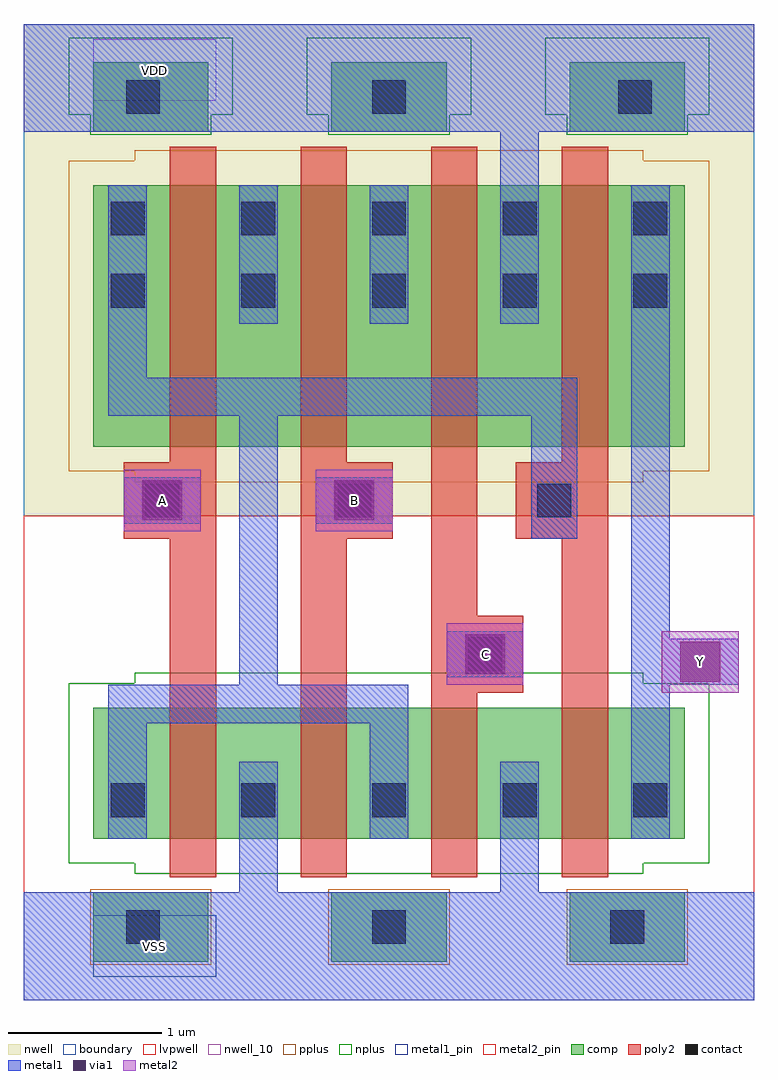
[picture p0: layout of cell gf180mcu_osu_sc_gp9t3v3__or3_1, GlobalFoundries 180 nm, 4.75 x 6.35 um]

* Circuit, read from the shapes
.subckt gf180mcu_osu_sc_gp9t3v3__or3_1 A B C VDD VSS Y
XM1 VSS A n1 VSS nfet_03v3 w=0.85u l=0.3u
XM2 n1 B VSS VSS nfet_03v3 w=0.85u l=0.3u
XM3 VSS C n1 VSS nfet_03v3 w=0.85u l=0.3u
XM4 Y n1 VSS VSS nfet_03v3 w=0.85u l=0.3u
XM5 n2 A n1 VDD pfet_03v3 w=1.7u l=0.3u
XM6 n3 B n2 VDD pfet_03v3 w=1.7u l=0.3u
XM7 VDD C n3 VDD pfet_03v3 w=1.7u l=0.3u
XM8 Y n1 VDD VDD pfet_03v3 w=1.7u l=0.3u
.ends

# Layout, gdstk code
import gdstk
lib = gdstk.Library(unit=1e-6, precision=1e-09)
def R(c, l, rs):  # rectangles x0, y0, x1, y1
    for r in rs: c.add(gdstk.rectangle(r[:2], r[2:], *l))
def A(c, l, x, y, w, h, nx, ny, dx, dy):  # array of equal rectangles
    R(c, l, [(x+i*dx, y+j*dy, x+i*dx+w, y+j*dy+h) for i in range(nx) for j in range(ny)])
boundary = (0, 0)
nwell = (21, 0)
nwell_10 = (21, 10)
comp = (22, 0)
poly2 = (30, 0)
pplus = (31, 0)
nplus = (32, 0)
contact = (33, 0)
metal1 = (34, 0)
metal1_pin = (34, 10)
via1 = (35, 0)
metal2 = (36, 0)
metal2_pin = (36, 10)
lvpwell = (204, 0)

gf180mcu_osu_sc_gp9t3v3_ = lib.new_cell('gf180mcu_osu_sc_gp9t3v3__or3_1')
R(gf180mcu_osu_sc_gp9t3v3_, boundary, [(0,0,4.75,6.35)])
R(gf180mcu_osu_sc_gp9t3v3_, nwell, [(0,3.15,4.75,6.35)])
R(gf180mcu_osu_sc_gp9t3v3_, nwell_10, [(0.45,5.85,1.25,6.25)])
A(gf180mcu_osu_sc_gp9t3v3_, comp, 0.45, 0.25, 0.75, 0.45, 3, 2, 1.55, 5.4)
R(gf180mcu_osu_sc_gp9t3v3_, comp, [(0.45,1.05,4.3,1.9), (0.45,3.6,4.3,5.3)])
R(gf180mcu_osu_sc_gp9t3v3_, poly2, [(0.95,0.8,1.25,3), (1.8,0.8,2.1,3), (2.65,0.8,2.95,2), (3.5,0.8,3.8,3), (2.65,2,3.25,2.5), (2.65,2.5,2.95,5.55), (0.65,3,1.25,3.5), (1.8,3,2.4,3.5), (3.2,3,3.8,3.5), (0.95,3.5,1.25,5.55), (1.8,3.5,2.1,5.55), (3.5,3.5,3.8,5.55)])
A(gf180mcu_osu_sc_gp9t3v3_, pplus, 0.43, 0.23, 0.79, 0.49, 3, 1, 1.55, 0)
R(gf180mcu_osu_sc_gp9t3v3_, pplus, [(0.72,3.37,4.03,3.44), (0.29,3.44,4.46,5.46), (0.72,5.46,4.03,5.53)])
A(gf180mcu_osu_sc_gp9t3v3_, nplus, 0.43, 5.63, 0.79, 0.13, 3, 1, 1.55, 0)
A(gf180mcu_osu_sc_gp9t3v3_, nplus, 0.29, 5.76, 1.07, 0.5, 3, 1, 1.55, 0)
R(gf180mcu_osu_sc_gp9t3v3_, nplus, [(0.72,0.82,4.03,0.89), (0.29,0.89,4.46,2.06), (0.72,2.06,4.03,2.13)])
A(gf180mcu_osu_sc_gp9t3v3_, contact, 0.565, 1.19, 0.22, 0.22, 5, 2, 0.85, 3.315)
A(gf180mcu_osu_sc_gp9t3v3_, contact, 0.565, 4.975, 0.22, 0.22, 5, 1, 0.85, 0)
A(gf180mcu_osu_sc_gp9t3v3_, contact, 0.665, 5.765, 0.22, 0.22, 3, 1, 1.6, 0)
R(gf180mcu_osu_sc_gp9t3v3_, contact, [(0.665,0.365,0.885,0.585), (2.265,0.365,2.485,0.585), (3.815,0.365,4.035,0.585), (2.89,2.14,3.11,2.36), (0.79,3.14,1.01,3.36), (2.04,3.14,2.26,3.36), (3.34,3.14,3.56,3.36)])
R(gf180mcu_osu_sc_gp9t3v3_, metal1, [(0,0,4.75,0.7), (1.4,0.7,1.65,1.55), (3.1,0.7,3.35,1.55), (0.55,1.05,0.8,1.8), (2.25,1.05,2.5,1.8), (3.95,1.05,4.2,2.05), (0.55,1.8,2.5,2.05), (1.4,2.05,1.65,3.8), (3.95,2.05,4.65,2.35), (2.75,2.1,3.25,2.4), (3.95,2.35,4.2,5.3), (3.3,3,3.6,3.8), (0.65,3.1,1.15,3.4), (1.9,3.1,2.4,3.4), (0.55,3.8,3.6,4.05), (0.55,4.05,0.8,5.3), (1.4,4.4,1.65,5.3), (2.25,4.4,2.5,5.3), (3.1,4.4,3.35,5.65), (0,5.65,4.75,6.35)])
R(gf180mcu_osu_sc_gp9t3v3_, metal1_pin, [(0.45,0.15,1.25,0.55)])
R(gf180mcu_osu_sc_gp9t3v3_, via1, [(4.27,2.07,4.53,2.33), (2.87,2.12,3.13,2.38), (0.77,3.12,1.03,3.38), (2.02,3.12,2.28,3.38)])
R(gf180mcu_osu_sc_gp9t3v3_, metal2, [(4.15,2,4.65,2.4), (2.75,2.05,3.25,2.45), (0.65,3.05,1.15,3.45), (1.9,3.05,2.4,3.45)])
R(gf180mcu_osu_sc_gp9t3v3_, metal2_pin, [(4.15,2,4.65,2.4), (2.75,2.05,3.25,2.45), (0.65,3.05,1.15,3.45), (1.9,3.05,2.4,3.45)])
R(gf180mcu_osu_sc_gp9t3v3_, lvpwell, [(0,0,4.75,3.15)])
gf180mcu_osu_sc_gp9t3v3_.add(gdstk.Label('A', (0.9,3.25), layer=36, texttype=10))
gf180mcu_osu_sc_gp9t3v3_.add(gdstk.Label('B', (2.15,3.25), layer=36, texttype=10))
gf180mcu_osu_sc_gp9t3v3_.add(gdstk.Label('C', (3,2.25), layer=36, texttype=10))
gf180mcu_osu_sc_gp9t3v3_.add(gdstk.Label('VDD', (0.85,6.05), layer=21, texttype=10))
gf180mcu_osu_sc_gp9t3v3_.add(gdstk.Label('Y', (4.4,2.2), layer=36, texttype=10))
gf180mcu_osu_sc_gp9t3v3_.add(gdstk.Label('VSS', (0.85,0.35), layer=34, texttype=10))

lib.write_gds('gf180mcu_osu_sc_gp9t3v3__or3_1.gds')
